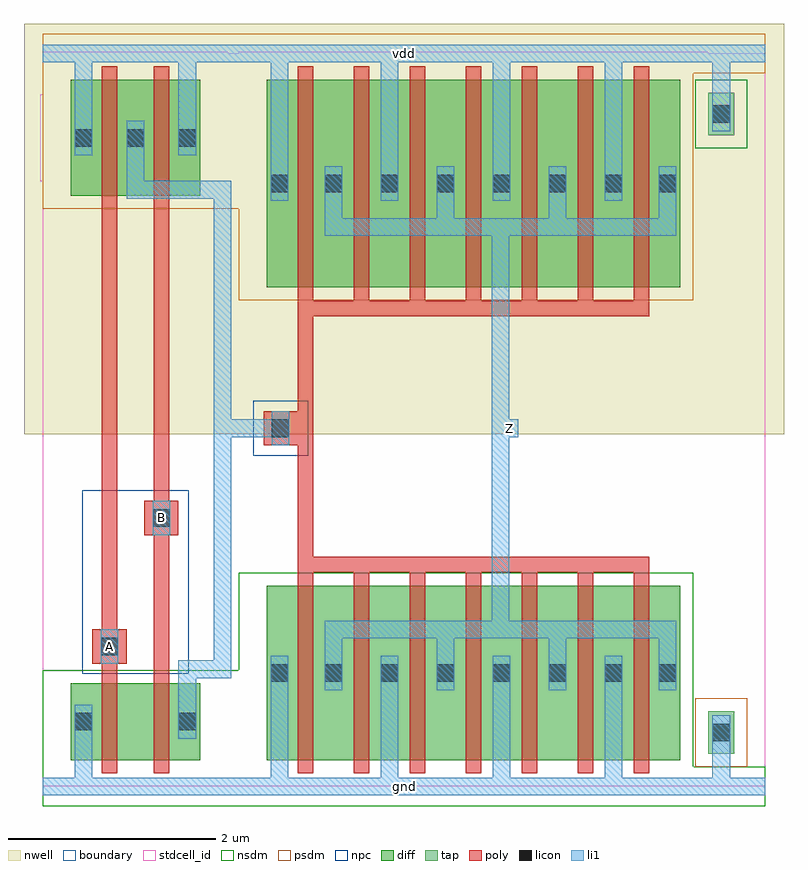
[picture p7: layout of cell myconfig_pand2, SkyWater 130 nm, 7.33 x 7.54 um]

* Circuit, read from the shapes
.subckt myconfig_pand2 A B Z gnd vdd
XM1 myconfig_pnand2_0/myconfig_nmos_m1_w0_740_sli_dactive_2/D A gnd gnd sky130_fd_pr__nfet_01v8 w=0.74 l=0.15
XM2 myconfig_pdriver_1/A B myconfig_pnand2_0/myconfig_nmos_m1_w0_740_sli_dactive_2/D gnd sky130_fd_pr__nfet_01v8 w=0.74 l=0.15
XM3 Z myconfig_pdriver_1/A gnd gnd sky130_fd_pr__nfet_01v8 w=1.68 l=0.15 m=7
XM4 myconfig_pdriver_1/A A vdd vdd sky130_fd_pr__pfet_01v8 w=1.12 l=0.15
XM5 vdd B myconfig_pdriver_1/A vdd sky130_fd_pr__pfet_01v8 w=1.12 l=0.15
XM6 Z myconfig_pdriver_1/A vdd vdd sky130_fd_pr__pfet_01v8 w=2 l=0.15 m=7
.ends

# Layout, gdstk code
import gdstk
lib = gdstk.Library(unit=1e-6, precision=1e-09)
def R(c, l, rs):  # rectangles x0, y0, x1, y1
    for r in rs: c.add(gdstk.rectangle(r[:2], r[2:], *l))
def A(c, l, x, y, w, h, nx, ny, dx, dy):  # array of equal rectangles
    R(c, l, [(x+i*dx, y+j*dy, x+i*dx+w, y+j*dy+h) for i in range(nx) for j in range(ny)])
nwell = (64, 20)
diff = (65, 20)
tap = (65, 44)
poly = (66, 20)
licon = (66, 44)
li1 = (67, 20)
stdcell_id = (81, 4)
nsdm = (93, 44)
psdm = (94, 20)
npc = (95, 20)
boundary = (235, 4)

myconfig_contact_11 = lib.new_cell('myconfig_contact_11')
R(myconfig_contact_11, nwell, [(-0.295,-0.255,0.545,0.585)])
R(myconfig_contact_11, diff, [(0,0.02,0.25,0.31)])
R(myconfig_contact_11, licon, [(0.04,0.08,0.21,0.25)])
R(myconfig_contact_11, li1, [(0.04,0,0.21,0.33)])
R(myconfig_contact_11, stdcell_id, [(-0.295,-0.255,0.545,0.585)])
R(myconfig_contact_11, psdm, [(-0.125,-0.105,0.375,0.435)])
R(myconfig_contact_11, boundary, [(-0.295,-0.255,0.545,0.585)])

myconfig_pmos_m1_w1_120_ = lib.new_cell('myconfig_pmos_m1_w1_120_sli_dli')
R(myconfig_pmos_m1_w1_120_, nwell, [(-0.27,-0.27,1.02,1.39)])
R(myconfig_pmos_m1_w1_120_, diff, [(0,0,0.75,1.12)])
R(myconfig_pmos_m1_w1_120_, poly, [(0.3,-0.13,0.45,1.25), (0.3,-0.13,0.45,1.25)])
R(myconfig_pmos_m1_w1_120_, li1, [(0.04,0.395,0.21,0.725), (0.54,0.395,0.71,0.725)])
R(myconfig_pmos_m1_w1_120_, stdcell_id, [(-0.27,-0.27,1.02,1.39)])
R(myconfig_pmos_m1_w1_120_, psdm, [(-0.125,-0.125,0.875,1.245)])
R(myconfig_pmos_m1_w1_120_, boundary, [(-0.27,-0.27,1.02,1.39)])
myconfig_pmos_m1_w1_120_.add(gdstk.Reference(myconfig_contact_11, (0,0.395)))
myconfig_pmos_m1_w1_120_.add(gdstk.Reference(myconfig_contact_11, (0.5,0.395)))
myconfig_pmos_m1_w1_120_.add(gdstk.Label('G', (0.375,0.56), layer=66, texttype=5))
myconfig_pmos_m1_w1_120_.add(gdstk.Label('S', (0.125,0.56), layer=67, texttype=5))
myconfig_pmos_m1_w1_120_.add(gdstk.Label('D', (0.625,0.56), layer=67, texttype=5))

myconfig_contact_10 = lib.new_cell('myconfig_contact_10')
R(myconfig_contact_10, diff, [(0,0.02,0.25,0.31)])
R(myconfig_contact_10, licon, [(0.04,0.08,0.21,0.25)])
R(myconfig_contact_10, li1, [(0.04,0,0.21,0.33)])
R(myconfig_contact_10, stdcell_id, [(-0.125,-0.105,0.375,0.435)])
R(myconfig_contact_10, nsdm, [(-0.125,-0.105,0.375,0.435)])
R(myconfig_contact_10, boundary, [(-0.125,-0.105,0.375,0.435)])

myconfig_nmos_m1_w0_740_ = lib.new_cell('myconfig_nmos_m1_w0_740_sli_dactive')
R(myconfig_nmos_m1_w0_740_, diff, [(0,0,0.75,0.74), (0.55,0.295,0.7,0.445)])
R(myconfig_nmos_m1_w0_740_, poly, [(0.3,-0.13,0.45,0.87), (0.3,-0.13,0.45,0.87)])
R(myconfig_nmos_m1_w0_740_, li1, [(0.04,0.205,0.21,0.535)])
R(myconfig_nmos_m1_w0_740_, stdcell_id, [(-0.125,-0.13,0.875,0.87)])
R(myconfig_nmos_m1_w0_740_, nsdm, [(-0.125,-0.125,0.875,0.865)])
R(myconfig_nmos_m1_w0_740_, boundary, [(-0.125,-0.13,0.875,0.87)])
myconfig_nmos_m1_w0_740_.add(gdstk.Reference(myconfig_contact_10, (0,0.205)))
myconfig_nmos_m1_w0_740_.add(gdstk.Label('G', (0.375,0.37), layer=66, texttype=5))
myconfig_nmos_m1_w0_740_.add(gdstk.Label('S', (0.125,0.37), layer=67, texttype=5))
myconfig_nmos_m1_w0_740_.add(gdstk.Label('D', (0.625,0.37), layer=65, texttype=5))

c_myconfig_nmos_m1_w0_740_ = lib.new_cell('myconfig_nmos_m1_w0_740_sactive_dli')
R(c_myconfig_nmos_m1_w0_740_, diff, [(0,0,0.75,0.74), (0.05,0.295,0.2,0.445)])
R(c_myconfig_nmos_m1_w0_740_, poly, [(0.3,-0.13,0.45,0.87), (0.3,-0.13,0.45,0.87)])
R(c_myconfig_nmos_m1_w0_740_, li1, [(0.54,0.205,0.71,0.535)])
R(c_myconfig_nmos_m1_w0_740_, stdcell_id, [(-0.125,-0.13,0.875,0.87)])
R(c_myconfig_nmos_m1_w0_740_, nsdm, [(-0.125,-0.125,0.875,0.865)])
R(c_myconfig_nmos_m1_w0_740_, boundary, [(-0.125,-0.13,0.875,0.87)])
c_myconfig_nmos_m1_w0_740_.add(gdstk.Reference(myconfig_contact_10, (0.5,0.205)))
c_myconfig_nmos_m1_w0_740_.add(gdstk.Label('G', (0.375,0.37), layer=66, texttype=5))
c_myconfig_nmos_m1_w0_740_.add(gdstk.Label('S', (0.125,0.37), layer=65, texttype=5))
c_myconfig_nmos_m1_w0_740_.add(gdstk.Label('D', (0.625,0.37), layer=67, texttype=5))

myconfig_contact_15 = lib.new_cell('myconfig_contact_15')
R(myconfig_contact_15, poly, [(0,0,0.33,0.33)])
R(myconfig_contact_15, licon, [(0.08,0.08,0.25,0.25)])
R(myconfig_contact_15, li1, [(0.08,0,0.25,0.33)])
R(myconfig_contact_15, stdcell_id, [(-0.1,-0.1,0.43,0.43)])
R(myconfig_contact_15, npc, [(-0.1,-0.1,0.43,0.43)])
R(myconfig_contact_15, boundary, [(-0.1,-0.1,0.43,0.43)])

myconfig_pnand2 = lib.new_cell('myconfig_pnand2')
R(myconfig_pnand2, nwell, [(-0.18,3.395,2.07,7.355)])
R(myconfig_pnand2, poly, [(0.57,1.125,0.72,5.565), (1.07,1.125,1.22,5.565), (0.57,1.185,0.645,1.515), (1.07,2.425,1.145,2.755)])
R(myconfig_pnand2, li1, [(0,-0.085,1.89,0.085), (0.31,-0.085,0.48,0.46), (1.31,0.79,1.48,1.13), (1.31,1.045,1.48,1.215), (1.395,1.045,1.735,1.215), (1.65,1.045,1.82,1.215), (1.65,1.13,1.82,5.755), (0.56,1.185,0.73,1.515), (1.06,2.425,1.23,2.755), (0.81,5.67,0.98,5.84), (0.895,5.67,1.735,5.84), (1.65,5.67,1.82,5.84), (0.81,5.755,0.98,6.09), (0.31,6.09,0.48,7.155), (1.31,6.09,1.48,7.155), (0,6.985,1.89,7.155)])
R(myconfig_pnand2, stdcell_id, [(0,0,1.89,7.07), (0,0,1.89,7.07)])
R(myconfig_pnand2, nsdm, [(0,-0.19,1.89,0.19), (0,0,1.89,1.12)])
R(myconfig_pnand2, psdm, [(0,5.57,1.89,7.07), (0,6.88,1.89,7.26)])
R(myconfig_pnand2, npc, [(0.38,1.085,1.41,2.855)])
R(myconfig_pnand2, boundary, [(0,0,1.89,7.07), (0,0,1.89,7.07)])
myconfig_pnand2.add(gdstk.Reference(myconfig_pmos_m1_w1_120_, (0.27,5.695)))
myconfig_pnand2.add(gdstk.Reference(myconfig_pmos_m1_w1_120_, (0.77,5.695)))
myconfig_pnand2.add(gdstk.Reference(myconfig_nmos_m1_w0_740_, (0.27,0.255)))
myconfig_pnand2.add(gdstk.Reference(c_myconfig_nmos_m1_w0_740_, (0.77,0.255)))
myconfig_pnand2.add(gdstk.Reference(myconfig_contact_15, (0.48,1.185)))
myconfig_pnand2.add(gdstk.Reference(myconfig_contact_15, (0.98,2.425)))
myconfig_pnand2.add(gdstk.Label('Z', (1.735,5.755), layer=67, texttype=5))
myconfig_pnand2.add(gdstk.Label('gnd', (0.945,0), layer=67, texttype=5))
myconfig_pnand2.add(gdstk.Label('vdd', (0.945,7.07), layer=67, texttype=5))
myconfig_pnand2.add(gdstk.Label('A', (0.645,1.35), layer=67, texttype=5))
myconfig_pnand2.add(gdstk.Label('B', (1.145,2.59), layer=67, texttype=5))

myconfig_pmos_m7_w2_000_ = lib.new_cell('myconfig_pmos_m7_w2_000_sli_dli_da_p')
R(myconfig_pmos_m7_w2_000_, nwell, [(-0.27,-0.27,4.26,2.27)])
R(myconfig_pmos_m7_w2_000_, diff, [(0,0,3.99,2)])
A(myconfig_pmos_m7_w2_000_, poly, 0.3, -0.13, 0.15, 2.26, 7, 1, 0.54, 0)
R(myconfig_pmos_m7_w2_000_, poly, [(0.3,-0.28,3.69,-0.13)])
A(myconfig_pmos_m7_w2_000_, li1, 0.56, 0.58, 0.17, 0.42, 3, 1, 1.08, 0)
A(myconfig_pmos_m7_w2_000_, li1, 1.1, 0.835, 0.17, 0.33, 3, 1, 1.08, 0)
R(myconfig_pmos_m7_w2_000_, li1, [(0.56,0.495,3.95,0.665), (3.78,0.58,3.95,1), (0.04,0.835,0.21,1.165)])
R(myconfig_pmos_m7_w2_000_, stdcell_id, [(-0.27,-0.28,4.26,2.27)])
R(myconfig_pmos_m7_w2_000_, psdm, [(-0.125,-0.125,4.115,2.125)])
R(myconfig_pmos_m7_w2_000_, boundary, [(-0.27,-0.28,4.26,2.27)])
myconfig_pmos_m7_w2_000_.add(gdstk.Reference(myconfig_contact_11, (0,0.835)))
myconfig_pmos_m7_w2_000_.add(gdstk.Reference(myconfig_contact_11, (0.52,0.835)))
myconfig_pmos_m7_w2_000_.add(gdstk.Reference(myconfig_contact_11, (1.06,0.835)))
myconfig_pmos_m7_w2_000_.add(gdstk.Reference(myconfig_contact_11, (1.6,0.835)))
myconfig_pmos_m7_w2_000_.add(gdstk.Reference(myconfig_contact_11, (2.14,0.835)))
myconfig_pmos_m7_w2_000_.add(gdstk.Reference(myconfig_contact_11, (2.68,0.835)))
myconfig_pmos_m7_w2_000_.add(gdstk.Reference(myconfig_contact_11, (3.22,0.835)))
myconfig_pmos_m7_w2_000_.add(gdstk.Reference(myconfig_contact_11, (3.74,0.835)))
myconfig_pmos_m7_w2_000_.add(gdstk.Label('G', (1.995,-0.205), layer=66, texttype=5))
myconfig_pmos_m7_w2_000_.add(gdstk.Label('S', (3.345,1), layer=67, texttype=5))
myconfig_pmos_m7_w2_000_.add(gdstk.Label('S', (0.125,1), layer=67, texttype=5))
myconfig_pmos_m7_w2_000_.add(gdstk.Label('S', (2.265,1), layer=67, texttype=5))
myconfig_pmos_m7_w2_000_.add(gdstk.Label('S', (1.185,1), layer=67, texttype=5))
myconfig_pmos_m7_w2_000_.add(gdstk.Label('D', (2.255,0.58), layer=67, texttype=5))

myconfig_nmos_m7_w1_680_ = lib.new_cell('myconfig_nmos_m7_w1_680_sli_dli_da_p')
R(myconfig_nmos_m7_w1_680_, diff, [(0,0,3.99,1.68)])
A(myconfig_nmos_m7_w1_680_, poly, 0.3, -0.13, 0.15, 1.94, 7, 1, 0.54, 0)
R(myconfig_nmos_m7_w1_680_, poly, [(0.3,1.81,3.69,1.96)])
A(myconfig_nmos_m7_w1_680_, li1, 1.1, 0.675, 0.17, 0.33, 3, 1, 1.08, 0)
A(myconfig_nmos_m7_w1_680_, li1, 0.56, 0.84, 0.17, 0.42, 3, 1, 1.08, 0)
R(myconfig_nmos_m7_w1_680_, li1, [(0.04,0.675,0.21,1.005), (3.78,0.84,3.95,1.26), (0.56,1.175,3.95,1.345)])
R(myconfig_nmos_m7_w1_680_, stdcell_id, [(-0.125,-0.13,4.115,1.96)])
R(myconfig_nmos_m7_w1_680_, nsdm, [(-0.125,-0.125,4.115,1.805)])
R(myconfig_nmos_m7_w1_680_, boundary, [(-0.125,-0.13,4.115,1.96)])
myconfig_nmos_m7_w1_680_.add(gdstk.Reference(myconfig_contact_10, (0,0.675)))
myconfig_nmos_m7_w1_680_.add(gdstk.Reference(myconfig_contact_10, (0.52,0.675)))
myconfig_nmos_m7_w1_680_.add(gdstk.Reference(myconfig_contact_10, (1.06,0.675)))
myconfig_nmos_m7_w1_680_.add(gdstk.Reference(myconfig_contact_10, (1.6,0.675)))
myconfig_nmos_m7_w1_680_.add(gdstk.Reference(myconfig_contact_10, (2.14,0.675)))
myconfig_nmos_m7_w1_680_.add(gdstk.Reference(myconfig_contact_10, (2.68,0.675)))
myconfig_nmos_m7_w1_680_.add(gdstk.Reference(myconfig_contact_10, (3.22,0.675)))
myconfig_nmos_m7_w1_680_.add(gdstk.Reference(myconfig_contact_10, (3.74,0.675)))
myconfig_nmos_m7_w1_680_.add(gdstk.Label('G', (1.995,1.885), layer=66, texttype=5))
myconfig_nmos_m7_w1_680_.add(gdstk.Label('S', (0.125,0.84), layer=67, texttype=5))
myconfig_nmos_m7_w1_680_.add(gdstk.Label('S', (3.345,0.84), layer=67, texttype=5))
myconfig_nmos_m7_w1_680_.add(gdstk.Label('S', (1.185,0.84), layer=67, texttype=5))
myconfig_nmos_m7_w1_680_.add(gdstk.Label('S', (2.265,0.84), layer=67, texttype=5))
myconfig_nmos_m7_w1_680_.add(gdstk.Label('D', (2.255,1.26), layer=67, texttype=5))

myconfig_contact_28 = lib.new_cell('myconfig_contact_28')
R(myconfig_contact_28, nwell, [(-0.295,-0.215,0.545,0.625)])
R(myconfig_contact_28, tap, [(0,0,0.25,0.41)])
R(myconfig_contact_28, licon, [(0.04,0.12,0.21,0.29)])
R(myconfig_contact_28, li1, [(0.04,0.04,0.21,0.37)])
R(myconfig_contact_28, stdcell_id, [(-0.295,-0.215,0.545,0.625)])
R(myconfig_contact_28, nsdm, [(-0.125,-0.125,0.375,0.535)])
R(myconfig_contact_28, boundary, [(-0.295,-0.215,0.545,0.625)])

myconfig_contact_29 = lib.new_cell('myconfig_contact_29')
R(myconfig_contact_29, tap, [(0,0,0.25,0.41)])
R(myconfig_contact_29, licon, [(0.04,0.12,0.21,0.29)])
R(myconfig_contact_29, li1, [(0.04,0.04,0.21,0.37)])
R(myconfig_contact_29, stdcell_id, [(-0.125,-0.125,0.375,0.535)])
R(myconfig_contact_29, psdm, [(-0.125,-0.125,0.375,0.535)])
R(myconfig_contact_29, boundary, [(-0.125,-0.125,0.375,0.535)])

myconfig_pinv_2 = lib.new_cell('myconfig_pinv_2')
R(myconfig_pinv_2, nwell, [(-0.18,3.395,5.26,7.355)])
R(myconfig_pinv_2, poly, [(0.57,2.215,0.72,4.535), (0.405,3.29,0.57,3.62)])
A(myconfig_pinv_2, li1, 1.37, -0.085, 0.17, 1.015, 3, 1, 1.08, 0)
A(myconfig_pinv_2, li1, 1.37, 5.65, 0.17, 1.505, 3, 1, 1.08, 0)
R(myconfig_pinv_2, li1, [(0,-0.085,5.08,0.085), (0.31,-0.085,0.48,0.93), (4.57,0,4.74,0.52), (2.44,1.43,2.61,5.48), (0.32,3.29,0.49,3.62), (2.525,3.37,2.695,3.54), (0.31,5.65,0.48,7.155), (4.57,6.485,4.74,7.07), (0,6.985,5.08,7.155)])
R(myconfig_pinv_2, stdcell_id, [(0,0,5.08,7.07), (0,0,5.08,7.07)])
R(myconfig_pinv_2, nsdm, [(0,-0.19,5.08,0.19), (0,0,4.385,2.06)])
R(myconfig_pinv_2, psdm, [(0,4.69,4.385,7.07), (0,6.88,5.08,7.26)])
R(myconfig_pinv_2, boundary, [(0,0,5.08,7.07), (0,0,5.08,7.07)])
myconfig_pinv_2.add(gdstk.Reference(myconfig_pmos_m7_w2_000_, (0.27,4.815)))
myconfig_pinv_2.add(gdstk.Reference(myconfig_nmos_m7_w1_680_, (0.27,0.255)))
myconfig_pinv_2.add(gdstk.Reference(myconfig_contact_28, (4.53,6.28)))
myconfig_pinv_2.add(gdstk.Reference(myconfig_contact_29, (4.53,0.315)))
myconfig_pinv_2.add(gdstk.Reference(myconfig_contact_15, (0.24,3.29)))
myconfig_pinv_2.add(gdstk.Label('A', (0.405,3.455), layer=67, texttype=5))
myconfig_pinv_2.add(gdstk.Label('Z', (2.61,3.455), layer=67, texttype=5))
myconfig_pinv_2.add(gdstk.Label('gnd', (2.54,0), layer=67, texttype=5))
myconfig_pinv_2.add(gdstk.Label('vdd', (2.54,7.07), layer=67, texttype=5))

myconfig_pdriver = lib.new_cell('myconfig_pdriver')
R(myconfig_pdriver, nwell, [(-0.18,3.395,5.26,7.355)])
R(myconfig_pdriver, li1, [(0,-0.085,5.08,0.085), (0.32,3.29,0.49,3.62), (2.525,3.37,2.695,3.54), (0,6.985,5.08,7.155)])
R(myconfig_pdriver, stdcell_id, [(0,0,5.08,7.07), (0,0,5.08,7.07)])
R(myconfig_pdriver, nsdm, [(0,-0.19,5.08,0.19)])
R(myconfig_pdriver, psdm, [(0,6.88,5.08,7.26)])
R(myconfig_pdriver, boundary, [(0,0,5.08,7.07), (0,0,5.08,7.07)])
myconfig_pdriver.add(gdstk.Reference(myconfig_pinv_2, (0,0)))
myconfig_pdriver.add(gdstk.Label('Z', (2.61,3.455), layer=67, texttype=5))
myconfig_pdriver.add(gdstk.Label('A', (0.405,3.455), layer=67, texttype=5))
myconfig_pdriver.add(gdstk.Label('gnd', (2.54,0), layer=67, texttype=5))
myconfig_pdriver.add(gdstk.Label('vdd', (2.54,7.07), layer=67, texttype=5))

myconfig_pand2 = lib.new_cell('myconfig_pand2')
R(myconfig_pand2, li1, [(0,-0.085,6.97,0.085), (0.56,1.185,0.73,1.515), (1.06,2.425,1.23,2.755), (1.65,3.37,1.82,3.54), (1.735,3.37,2.295,3.54), (4.415,3.37,4.585,3.54), (1.65,3.455,1.82,5.755), (0,6.985,6.97,7.155)])
R(myconfig_pand2, stdcell_id, [(0,0,6.97,7.07), (0,0,6.97,7.07)])
R(myconfig_pand2, boundary, [(0,0,6.97,7.07), (0,0,6.97,7.07)])
myconfig_pand2.add(gdstk.Reference(myconfig_pnand2, (0,0)))
myconfig_pand2.add(gdstk.Reference(myconfig_pdriver, (1.89,0)))
myconfig_pand2.add(gdstk.Label('Z', (4.5,3.455), layer=67, texttype=5))
myconfig_pand2.add(gdstk.Label('A', (0.645,1.35), layer=67, texttype=5))
myconfig_pand2.add(gdstk.Label('B', (1.145,2.59), layer=67, texttype=5))
myconfig_pand2.add(gdstk.Label('gnd', (3.485,0), layer=67, texttype=5))
myconfig_pand2.add(gdstk.Label('vdd', (3.485,7.07), layer=67, texttype=5))

lib.write_gds('myconfig_pand2.gds')
